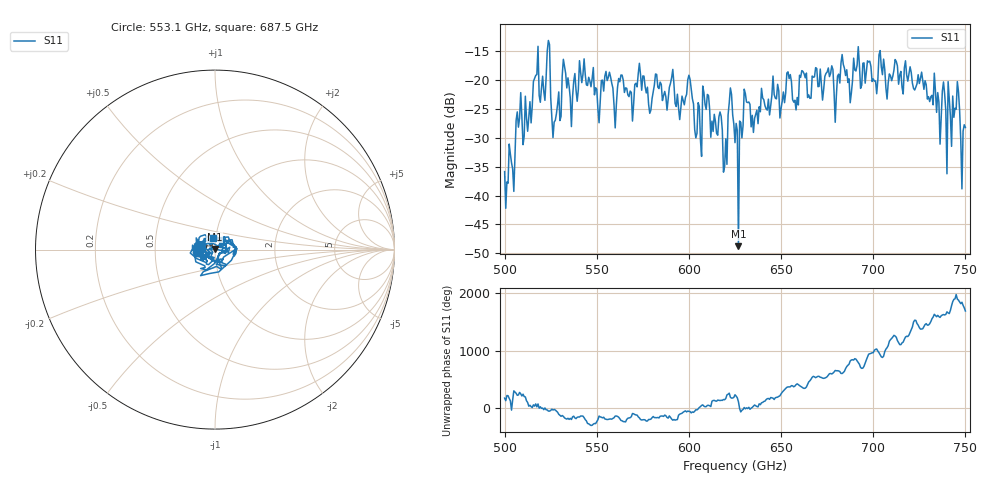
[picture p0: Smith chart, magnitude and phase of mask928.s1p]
!Created with skrf (http://scikit-rf.org).
# GHz S MA R 50.0
!freq magS11 angS11
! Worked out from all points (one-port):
!   401 points, 500 GHz to 750 GHz, reference 50 ohm
!   lowest |S11| = -48.8 dB at 626.9 GHz (marker M1), VSWR 1.01, Z = 49.9 + j0.346 ohm
!   |S11| at or under -10 dB: start of sweep to end of sweep
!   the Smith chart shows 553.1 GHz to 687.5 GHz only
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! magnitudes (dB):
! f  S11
! 500 GHz  -35.9
! 504.4 GHz  -35.4
! 507.5 GHz  -28.2
! 513.8 GHz  -23.8
! 516.9 GHz  -19.2
! 520.6 GHz  -19.4
! 523.8 GHz  -13.2
! 526.9 GHz  -27.3
! 531.2 GHz  -19.3
! 562.5 GHz  -20.3
! 579.4 GHz  -25.2
! 590.6 GHz  -19.6
! 593.8 GHz  -22.5
! 600.6 GHz  -19.9
! 605.6 GHz  -24.6
! 608.8 GHz  -24.3
! 619.4 GHz  -35.0
! 622.5 GHz  -21.4
! 625 GHz  -30.9
! 626.9 GHz  -48.8
! 631.2 GHz  -23.8
! 635 GHz  -29.1
! 656.2 GHz  -23.4
! 683.8 GHz  -17.3
! 687.5 GHz  -24.0
! 690.6 GHz  -18.5
! 718.8 GHz  -20.2
! 750 GHz  -28.2
